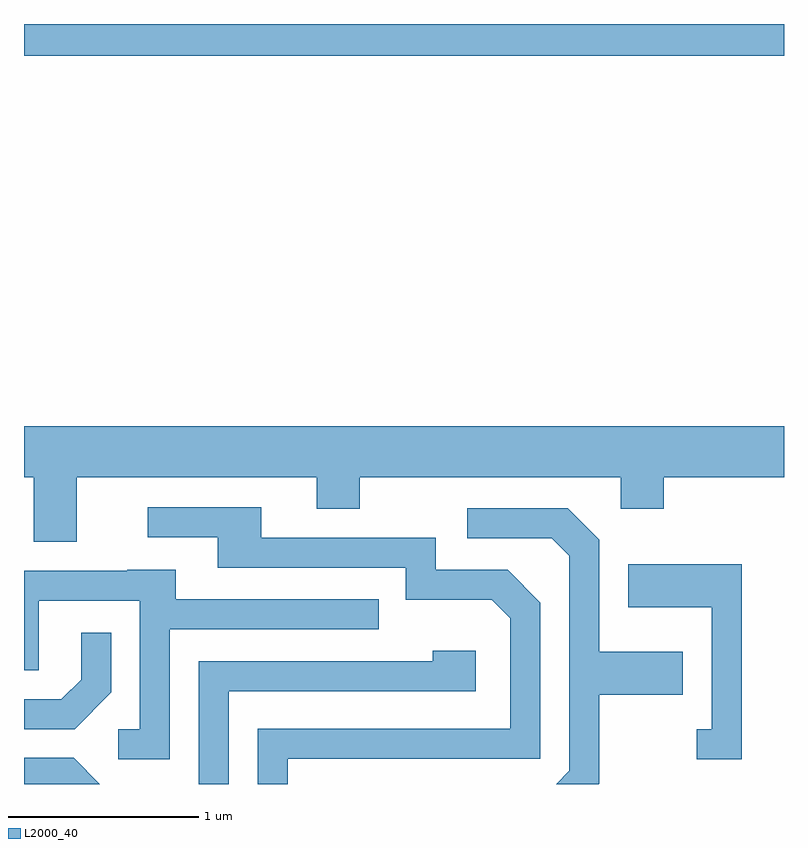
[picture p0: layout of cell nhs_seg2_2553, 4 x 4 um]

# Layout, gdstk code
import gdstk
lib = gdstk.Library(unit=1e-6, precision=1e-09)
def R(c, l, rs):  # rectangles x0, y0, x1, y1
    for r in rs: c.add(gdstk.rectangle(r[:2], r[2:], *l))
def P(c, l, *ps):  # polygons
    for p in ps: c.add(gdstk.Polygon(p, *l))
L2000_40 = (2000, 40)

nhs_seg2_2553 = lib.new_cell('nhs_seg2_2553')
R(nhs_seg2_2553, L2000_40, [(259.611,1061.636,263.611,1061.802)])
P(nhs_seg2_2553, L2000_40, [(259.889,1059.416),(261.151,1059.416),(261.151,1059.251),(261.379,1059.251),(261.379,1059.416),(262.751,1059.416),(262.751,1059.251),(262.979,1059.251),(262.979,1059.416),(263.611,1059.416),(263.611,1059.684),(259.611,1059.684),(259.611,1059.416),(259.661,1059.416),(259.661,1059.076),(259.889,1059.076)],
  [(260.999,1057.936),(262.329,1057.936),(262.329,1058.757),(262.157,1058.929),(261.779,1058.929),(261.779,1059.099),(260.859,1059.099),(260.859,1059.259),(260.263,1059.259),(260.263,1059.101),(260.631,1059.101),(260.631,1058.941),(261.621,1058.941),(261.621,1058.771),(262.074,1058.771),(262.171,1058.674),(262.171,1058.094),(260.841,1058.094),(260.841,1057.802),(260.999,1057.802)],
  [(262.639,1057.804),(262.639,1058.271),(263.079,1058.271),(263.079,1058.499),(262.639,1058.499),(262.639,1059.087),(262.472,1059.254),(261.943,1059.254),(261.943,1059.096),(262.389,1059.096),(262.481,1059.004),(262.481,1057.872),(262.412,1057.802),(262.637,1057.802)],
  [(263.389,1058.959),(262.791,1058.959),(262.791,1058.731),(263.231,1058.731),(263.231,1058.089),(263.153,1058.089),(263.153,1057.931),(263.389,1057.931)],
  [(260.379,1058.616),(261.478,1058.616),(261.478,1058.774),(260.409,1058.774),(260.409,1058.929),(260.155,1058.929),(260.155,1058.924),(259.611,1058.924),(259.611,1058.401),(259.689,1058.401),(259.689,1058.766),(260.221,1058.766),(260.221,1058.089),(260.108,1058.089),(260.108,1057.931),(260.379,1057.931)],
  [(260.069,1058.284),(260.069,1058.598),(259.911,1058.598),(259.911,1058.352),(259.808,1058.249),(259.611,1058.249),(259.611,1058.091),(259.877,1058.091)],
  [(260.689,1058.291),(261.989,1058.291),(261.989,1058.504),(261.761,1058.504),(261.761,1058.449),(260.531,1058.449),(260.531,1057.802),(260.689,1057.802)],
  [(259.872,1057.939),(259.611,1057.939),(259.611,1057.802),(260.009,1057.802)])

lib.write_gds('nhs_seg2_2553.gds')
